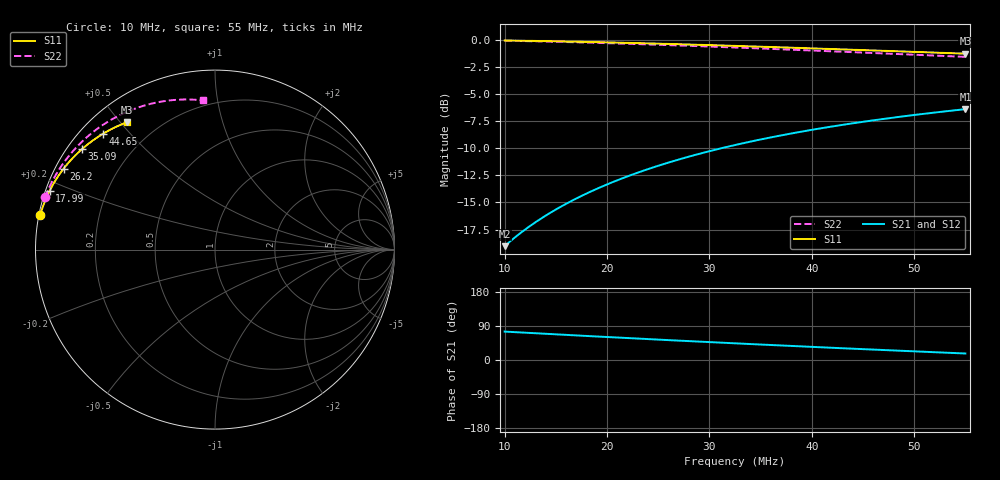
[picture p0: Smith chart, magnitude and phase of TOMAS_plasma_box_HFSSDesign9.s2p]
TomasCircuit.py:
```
from pyRFtk import rfCircuit, rfTRL, rfRLC, rfObject, rfCoupler

def ArthurMod(CaVal=150*1e-12,CpVal=47.94*1e-12,CsVal=133*1e-12):
    Zbase = 50
    ct = rfCircuit(Zbase = Zbase)

    # antenna strap

    A2Ca1_L = 0.95 #Antenna to pre-matching capacitor length
    A2Ca1_Z = 50
    T2Cs1_L = 0.087
    T2Cs1_Z = 50

    tsStrap = 'Ansys/TOMAS_plasma_box_HFSSDesign9.s2p'

    strap = rfObject(touchstone=tsStrap, ports=['cap','t'])

    if strap.fs[0] == 0.:
        strap.fs[0] = 1e-3 # avoid divisions by 0 at 0 Hz in deembed

    strap.deembed({'cap':(A2Ca1_L, A2Ca1_Z), 
                        't'  :(T2Cs1_L, T2Cs1_Z)})
            
    # circuit
    T2Cs_L = 0.16
    T2Cs_Z = 50
    Cs2Cp_L = 0.2
    Cs2Cp_Z = 50
    A2Ca_L = 0.29
    A2Ca_Z = 50.
    CptoV0_Z = 50
    V0toV1_Z = 50
    V1toV2_Z = 50
    V2toV3_Z = 50
    V3toIn_Z = 50

    CptoV0_L = 0.235
    V0toV1_L = 0.66
    V1toV2_L = 0.795
    V2toV3_L = 0.66
    V3toIn_L = 0.235

    LsCaps_H = 30e-9

    # build the circuit
    ct.addblock('strap', strap, 
                     # ports=['t','cap']
                     )
    ct.addblock('A2Ca1',
        rfTRL(L=A2Ca1_L, Z0TL=A2Ca1_Z,
        ports= ['ant','vcw'])
    )

    ct.connect('A2Ca1.ant','strap.cap')

    ct.addblock('A2Ca', 
        rfTRL(L=A2Ca_L, Z0TL=A2Ca_Z,
        ports= ['vcw','cap'])
    )
    ct.connect('A2Ca1.vcw', 'A2Ca.vcw')
    ct.addblock('Ca', rfRLC(Cs=CaVal, Ls=LsCaps_H, ports= ['cap','sc']))
    ct.connect('Ca.cap', 'A2Ca.cap')
    ct.terminate('Ca.sc',Z=0.)
    ct.addblock('T2Cs1',
        rfTRL(L=T2Cs1_L, Z0TL=T2Cs1_Z,
        ports= ['t','vcw'])
    )
    ct.connect('strap.t', 'T2Cs1.t')
    ct.addblock('T2Cs',
        rfTRL(L=T2Cs_L, Z0TL=T2Cs_Z,
        ports= ['vcw','cap'])
    )
    ct.connect('T2Cs1.vcw', 'T2Cs.vcw')
    ct.addblock('Cs', rfRLC(Cs=CsVal, Ls=LsCaps_H, ports= ['cap','toCp']))
    ct.connect('T2Cs.cap','Cs.cap')
    ct.addblock('Cs2Cp',
        rfTRL(L=Cs2Cp_L, Z0TL=Cs2Cp_Z,
        ports= ['Cs','Cp'])
    )
    ct.connect('Cs.toCp', 'Cs2Cp.Cs')
    ct.addblock('Cp', rfRLC(Cs=CpVal, Ls=LsCaps_H, ports= ['Cp','sc']))
    ct.terminate('Cp.sc', Z=0)


    # Coaxial cable

    ct.addblock('IntoV3', 
        rfTRL(L=V3toIn_L, Z0TL=V3toIn_Z,
        ports= ['In','V3']),
        relpos=0
    )
    ct.addblock('V3toV2', 
        rfTRL(L=V2toV3_L, Z0TL=V2toV3_Z,
        ports= ['V3','V2']),
        relpos=V3toIn_L
    )
    ct.addblock('V2toV1', 
        rfTRL(L=V1toV2_L, Z0TL=V0toV1_Z,
        ports= ['V2','V1']),
        relpos=V3toIn_L + V2toV3_L
    )
    ct.addblock('V1toV0', 
        rfTRL(L=V0toV1_L, Z0TL=V1toV2_Z,
        ports= ['V1','V0']),
        relpos=V3toIn_L + V2toV3_L + V0toV1_L
    )
    ct.addblock('V0toCp', 
        rfTRL(L=CptoV0_L, Z0TL=CptoV0_Z,
        ports= ['V0','Cp']),
        relpos=V3toIn_L + V2toV3_L + V0toV1_L + V1toV2_L
    )

    ct.connect('Cs2Cp.Cp', 'Cp.Cp', 'V0toCp.Cp')

    
    ct.connect('V0toCp.V0','V1toV0.V0')
    ct.connect('V1toV0.V1','V2toV1.V1')
    ct.connect('V2toV1.V2','V3toV2.V2')
    ct.connect('V3toV2.V3','IntoV3.V3')
    ct.connect('IntoV3.In','Source')

    return ct


def AntennaAndCaps(CaVal=150*1e-12,CpVal=47.94*1e-12,CsVal=133*1e-12):
    Zbase = 50
    ct = rfCircuit(Zbase = Zbase)

    # antenna strap

    A2Ca1_L = 0.95 #Antenna to pre-matching capacitor length
    A2Ca1_Z = 50
    T2Cs1_L = 0.087
    T2Cs1_Z = 50

    tsStrap = 'Ansys/TOMAS_plasma_box_HFSSDesign9.s2p'

    strap = rfObject(touchstone=tsStrap, ports=['cap','t'])

    if strap.fs[0] == 0.:
        strap.fs[0] = 1e-3 # avoid divisions by 0 at 0 Hz in deembed

    strap.deembed({'cap':(A2Ca1_L, A2Ca1_Z), 
                        't'  :(T2Cs1_L, T2Cs1_Z)})
            
    # circuit
    T2Cs_L = 0.16
    T2Cs_Z = 50
    Cs2Cp_L = 0.2
    Cs2Cp_Z = 50
    A2Ca_L = 0.29
    A2Ca_Z = 50.
    CptoV0_Z = 50
    V0toV1_Z = 50
    V1toV2_Z = 50
    V2toV3_Z = 50
    V3toIn_Z = 50

    CptoV0_L = 0.235
    V0toV1_L = 0.66
    V1toV2_L = 0.795
    V2toV3_L = 0.66
    V3toIn_L = 0.235

    LsCaps_H = 30e-9

    # build the circuit
    ct.addblock('strap', strap, 
                     # ports=['t','cap']
                     )
    ct.addblock('A2Ca1',
        rfTRL(L=A2Ca1_L, Z0TL=A2Ca1_Z,
        ports= ['ant','vcw'])
    )

    ct.connect('A2Ca1.ant','strap.cap')

    ct.addblock('A2Ca', 
        rfTRL(L=A2Ca_L, Z0TL=A2Ca_Z,
        ports= ['vcw','cap'])
    )
    ct.connect('A2Ca1.vcw', 'A2Ca.vcw')
    ct.addblock('Ca', rfRLC(Cs=CaVal, Ls=LsCaps_H, ports= ['cap','sc']))
    ct.connect('Ca.cap', 'A2Ca.cap')
    ct.terminate('Ca.sc',Z=0.)
    ct.addblock('T2Cs1',
        rfTRL(L=T2Cs1_L, Z0TL=T2Cs1_Z,
        ports= ['t','vcw'])
    )
    ct.connect('strap.t', 'T2Cs1.t')
    ct.addblock('T2Cs',
        rfTRL(L=T2Cs_L, Z0TL=T2Cs_Z,
        ports= ['vcw','cap'])
    )
    ct.connect('T2Cs1.vcw', 'T2Cs.vcw')
    ct.addblock('Cs', rfRLC(Cs=CsVal, Ls=LsCaps_H, ports= ['cap','toCp']))
    ct.connect('T2Cs.cap','Cs.cap')
    ct.addblock('Cs2Cp',
        rfTRL(L=Cs2Cp_L, Z0TL=Cs2Cp_Z,
        ports= ['Cs','Cp'])
    )
    ct.connect('Cs.toCp', 'Cs2Cp.Cs')
    ct.addblock('Cp', rfRLC(Cs=CpVal, Ls=LsCaps_H, ports= ['Cp','sc']))
    ct.terminate('Cp.sc', Z=0)


    ct.connect('Cs2Cp.Cp', 'Cp.Cp')

    return ct

def FredericCircuit(CaVal=150*1e-12,CpVal=47.94*1e-12,CsVal=133*1e-12,WhichStrap=0):
    Zbase = 50
    ct = rfCircuit(Zbase = Zbase)

    # antenna strap

    A2Ca1_L = 0.1715
    A2Ca1_Z = 50
    T2Cs1_L = 0.121
    T2Cs1_Z = 50

    Straps = ['Antenna/Tomas-Ref_geo-R=200-Diel_eps=0100.s2p','Antenna/Tomas-Ref_geo-R=200-Diel_eps=0200.s2p','Antenna/Tomas-Ref_geo-R=200-Diel_eps=0500.s2p','Antenna/Tomas-Ref_geo-R=200-Diel_eps=0842.s2p','Antenna/Tomas-Ref_geo-R=200-Diel_eps=1000.s2p','Antenna/Tomas-Ref_geo-R=200-Diel_eps=1500.s2p','Antenna/Tomas-Ref_geo-R=200-Diel_eps=2000.s2p','Antenna/Tomas-Ref_geo-R=200-Diel_eps=2500.s2p','Antenna/Tomas-Ref_geo-R=200-Diel_eps=3000.s2p']
    tsStrap = Straps[WhichStrap]


    strap = rfObject(touchstone=tsStrap, ports=['cap','t'])

    if strap.fs[0] == 0.:
        strap.fs[0] = 1e-3 # avoid divisions by 0 at 0 Hz in deembed

    strap.deembed({'cap':(A2Ca1_L, A2Ca1_Z), 
                        't'  :(T2Cs1_L, T2Cs1_Z)})
            
    # circuit
    T2Cs_L = 0.16
    T2Cs_Z = 50
    Cs2Cp_L = 0.2
    Cs2Cp_Z = 50
    A2Ca_L = 0.29
    A2Ca_Z = 50.
    CptoV0_Z = 50
    V0toV1_Z = 50
    V1toV2_Z = 50
    V2toV3_Z = 50
    V3toIn_Z = 50

    CptoV0_L = 0.235
    V0toV1_L = 0.66
    V1toV2_L = 0.795
    V2toV3_L = 0.66
    V3toIn_L = 0.235

    LsCaps_H = 30e-9

    # build the circuit
    ct.addblock('strap', strap, 
                     # ports=['t','cap']
                     )
    ct.addblock('A2Ca1',
        rfTRL(L=A2Ca1_L, Z0TL=A2Ca1_Z,
        ports= ['ant','vcw'])
    )
    ct.addblock('PlasmaLike',
        rfRLC(Rs=0.0,
        ports= ['in','out'])
    )
    ct.connect('PlasmaLike.in','A2Ca1.ant')
    ct.connect('strap.cap','PlasmaLike.out')
    ct.addblock('A2Ca', 
        rfTRL(L=A2Ca_L, Z0TL=A2Ca_Z,
        ports= ['vcw','cap'])
    )
    ct.connect('A2Ca1.vcw', 'A2Ca.vcw')
    ct.addblock('Ca', rfRLC(Cs=CaVal, Ls=LsCaps_H, ports= ['cap','sc']))
    ct.connect('Ca.cap', 'A2Ca.cap')
    ct.terminate('Ca.sc',Z=0.)
    ct.addblock('T2Cs1',
        rfTRL(L=T2Cs1_L, Z0TL=T2Cs1_Z,
        ports= ['t','vcw'])
    )
    ct.connect('strap.t', 'T2Cs1.t')
    ct.addblock('T2Cs',
        rfTRL(L=T2Cs_L, Z0TL=T2Cs_Z,
        ports= ['vcw','cap'])
    )
    ct.connect('T2Cs1.vcw', 'T2Cs.vcw')
    ct.addblock('Cs', rfRLC(Cs=CsVal, Ls=LsCaps_H, ports= ['cap','toCp']))
    ct.connect('T2Cs.cap','Cs.cap')
    ct.addblock('Cs2Cp',
        rfTRL(L=Cs2Cp_L, Z0TL=Cs2Cp_Z,
        ports= ['Cs','Cp'])
    )
    ct.connect('Cs.toCp', 'Cs2Cp.Cs')
    ct.addblock('Cp', rfRLC(Cs=CpVal, Ls=LsCaps_H, ports= ['Cp','sc']))
    ct.terminate('Cp.sc', Z=0)


    # Coaxial cable
    ct.addblock('CptoV0', 
        rfTRL(L=CptoV0_L, Z0TL=CptoV0_Z,
        ports= ['Cp','V0'])
    )

    ct.connect('Cs2Cp.Cp', 'Cp.Cp', 'CptoV0.Cp')

    ct.addblock('V0toV1', 
        rfTRL(L=V0toV1_L, Z0TL=V0toV1_Z,
        ports= ['V0','V1'])
    )
    ct.addblock('V1toV2', 
        rfTRL(L=V1toV2_L, Z0TL=V1toV2_Z,
        ports= ['V1','V2'])
    )
    ct.connect('CptoV0.V0','V0toV1.V0')
    ct.connect('V0toV1.V1','V1toV2.V1')

    ct.addblock('V2toV3', 
        rfTRL(L=V2toV3_L, Z0TL=V2toV3_Z,
        ports= ['V2','V3'])
    )
    ct.addblock('V3toIn', 
        rfTRL(L=V3toIn_L, Z0TL=V3toIn_Z,
        ports= ['V3','In'])
    )
    ct.connect('V1toV2.V2','V2toV3.V2')
    ct.connect('V2toV3.V3','V3toIn.V3')
    ct.connect('V3toIn.In','Source')

    return ct


def StrapCircuit2(CaVal=150*1e-12,CpVal=47.94*1e-12,CsVal=133*1e-12,WhichStrap=3):

    Zbase = 50.
    ct = rfCircuit(Zbase = Zbase)
    
    # antenna strap
    
    A2Ca1_L = 0.1715
    A2Ca1_Z = 50.
    T2Cs1_L = 0.121
    T2Cs1_Z = 50.

    Straps = ['Antenna/Tomas-Ref_geo-R=200-Diel_eps=0100.s2p','Antenna/Tomas-Ref_geo-R=200-Diel_eps=0200.s2p','Antenna/Tomas-Ref_geo-R=200-Diel_eps=0500.s2p','Antenna/Tomas-Ref_geo-R=200-Diel_eps=0842.s2p','Antenna/Tomas-Ref_geo-R=200-Diel_eps=1000.s2p','Antenna/Tomas-Ref_geo-R=200-Diel_eps=1500.s2p','Antenna/Tomas-Ref_geo-R=200-Diel_eps=2000.s2p','Antenna/Tomas-Ref_geo-R=200-Diel_eps=2500.s2p','Antenna/Tomas-Ref_geo-R=200-Diel_eps=3000.s2p']
    tsStrap = Straps[WhichStrap]

    strap = rfObject(touchstone=tsStrap, ports=['cap','t'])
    if strap.fs[0] == 0.:
        strap.fs[0] = 1e-3 # avoid divisions by 0 at 0 Hz in deembed

    strap.deembed({'cap':(A2Ca1_L, A2Ca1_Z), 
                                't'  :(T2Cs1_L, T2Cs1_Z)})
    T2Cs_L = 0.16
    T2Cs_Z = 50.

    Cs2Cp_L = 0.2
    Cs2Cp_Z = 50.

    A2Ca_L = 0.29
    A2Ca_Z = 50.

    CptoV0_L = 0.235
    CptoV0_Z = 50.
    V0toV1_L = 0.66
    V0toV1_Z = 50.
    V1toV2_L = 0.795
    V1toV2_Z = 50.
    V2toV3_L = 0.66
    V2toV3_Z = 50.
    V3toin_L = 0.235
    V3toin_Z = 50.
   
    LsCaps_H = 30e-9 #maybe 30?

    # build the circuit
        
    ct.addblock('strap', strap, 
                         # ports=['t','cap']
                         )
        # print(self.ct.__str__(full=1))
        
    ct.addblock('A2Ca1',
            rfTRL(L=A2Ca1_L, Z0TL=A2Ca1_Z,
            ports= ['ant','vcw'])
        )
        
    ct.connect('strap.cap','A2Ca1.ant')
        
    ct.addblock('A2Ca', 
            rfTRL(L=A2Ca_L, Z0TL=A2Ca_Z,
            ports= ['vcw','cap'])
        )
    ct.connect('A2Ca1.vcw', 'A2Ca.vcw')
        
    ct.addblock('Ca', rfRLC(Cs=CaVal, Ls=LsCaps_H, ports= ['cap','sc']))
        
    ct.connect('Ca.cap', 'A2Ca.cap')
    ct.terminate('Ca.sc',Z=0.)
        
    ct.addblock('T2Cs1',
            rfTRL(L=T2Cs1_L, Z0TL=T2Cs1_Z,
            ports= ['t','vcw'])
        )
        
    ct.connect('strap.t', 'T2Cs1.t')
        
    ct.addblock('T2Cs',
            rfTRL(L=T2Cs_L, Z0TL=T2Cs_Z,
            ports= ['vcw','cap'])
        )
        
    ct.connect('T2Cs1.vcw', 'T2Cs.vcw')
        
    ct.addblock('Cs', rfRLC(Cs=CsVal, Ls=LsCaps_H, ports= ['cap','toCp']))
    ct.connect('T2Cs.cap','Cs.cap')
        
    ct.addblock('Cs2Cp',
            rfTRL(L=Cs2Cp_L, Z0TL=Cs2Cp_Z,
            ports= ['Cs','Cp'])
        )

    ct.connect('Cs.toCp', 'Cs2Cp.Cs')
        
    ct.addblock('Cp', rfRLC(Cs=CpVal, Ls=LsCaps_H, ports= ['Cp','sc']))
    ct.terminate('Cp.sc', Z=0)
        
    ct.addblock('CptoV0',rfTRL(L=CptoV0_L, Z0TL=CptoV0_Z,ports= ['Cp','V0']))

    ct.addblock('V0toV1', 
            rfTRL(L=V0toV1_L, Z0TL=V0toV1_Z,
            ports= ['V0','V1'])
        )

    ct.addblock('V1toV2', 
            rfTRL(L=V1toV2_L, Z0TL=V1toV2_Z,
            ports= ['V1','V2'])
        )

    ct.addblock('V2toV3', 
            rfTRL(L=V2toV3_L, Z0TL=V2toV3_Z,
            ports= ['V2','V3'])
        )
    ct.addblock('V3toin', 
            rfTRL(L=V3toin_L, Z0TL=V3toin_Z,
            ports= ['V3','in'])
        )

    ct.connect('Cs2Cp.Cp', 'Cp.Cp', 'CptoV0.Cp')
    ct.connect('CptoV0.V0','V0toV1.V0')

    ct.connect('V0toV1.V1','V1toV2.V1')

    
    ct.connect('V1toV2.V2','V2toV3.V2')
    ct.connect('V2toV3.V3','V3toin.V3')
    ct.connect('Source','V3toin.in')

    return ct

def ArthurCircuit(CaVal=150*1e-12,CpVal=47.94*1e-12,CsVal=133*1e-12):

    # A simplified circuit

    TRLStoV3 = rfTRL(L=0.235, OD=0.041, ID=0.017, dx=500)
    TRLV3toV2 = rfTRL(L=0.66, OD=0.041, ID=0.017, dx=500)
    TRLV2toV1 = rfTRL(L=0.795, OD=0.041, ID=0.017, dx=500)
    TRLV1toV0 = rfTRL(L=0.66, OD=0.041, ID=0.017, dx=500)
    TRLV0toM = rfTRL(L=0.235, OD=0.041, ID=0.017, dx=500)
    """
    #load S matrix of antenna
    Antenna = rfObject(touchstone='Ansys/TOMAS_plasma_box_HFSSDesign9_test.s2p')
    RLCMatchBox = rfRLC(Cs=CsVal,Cp=CpVal)
    RLCPreMatchBox = rfRLC(Cs=CaVal)
    ct.addblock('Antenna',Antenna,ports=['G','H'])
    """
    #load S matrix of antenna and deembed:
    A2Ca1_L = 0.95 #Antenna to pre-matching capacitor length
    A2Ca1_Z = 50
    T2Cs1_L = 0.087
    T2Cs1_Z = 50
    tsStrap = 'Ansys/TOMAS_plasma_box_HFSSDesign9_test.s2p'
    Antenna = rfObject(touchstone=tsStrap, ports=['cap','t'])
    if strap.fs[0] == 0.:
        strap.fs[0] = 1e-3 # avoid divisions by 0 at 0 Hz in deembed
    Antenna.deembed({'cap':(A2Ca1_L, A2Ca1_Z), 't'  :(T2Cs1_L, T2Cs1_Z)})
    ct.addblock('Antenna', Antenna)
    ct.addblock('A2Ca1',
        rfTRL(L=A2Ca1_L, Z0TL=A2Ca1_Z,
        ports= ['ant','vcw'])
    )

    ct = rfCircuit(Id="TOMAS_ICRH")

    ct.addblock('StoV3',TRLStoV3,ports=['S','V3'],relpos=0)
    ct.addblock('V3toV2',TRLV3toV2,ports=['V3','V2'],relpos=TRLStoV3.L)
    ct.addblock('V2toV1',TRLV2toV1,ports=['V2','V1'],relpos=TRLStoV3.L + TRLV3toV2.L)
    ct.addblock('V1toV0',TRLV1toV0,ports=['V1','V0'],relpos=TRLStoV3.L + TRLV3toV2.L + TRLV2toV1.L)
    ct.addblock('V0toM',TRLV0toM,ports=['V0','M'],relpos=TRLStoV3.L + TRLV3toV2.L + TRLV2toV1.L + TRLV1toV0.L)

    EndOfLine =TRLStoV3.L + TRLV3toV2.L + TRLV2toV1.L + TRLV1toV0.L + TRLV0toM.L

    ct.addblock('Matching',RLCMatchBox,ports=['F','G'])
    ct.addblock('PreMatch',RLCPreMatchBox,ports=['H','I'])

    ct.connect('StoV3.S','Source')
    ct.connect('V3toV2.V3','StoV3.V3')
    ct.connect('V3toV2.V2','V2toV1.V2')
    ct.connect('V2toV1.V1','V1toV0.V1')
    ct.connect('V1toV0.V0','V0toM.V0')
    ct.connect('V0toM.M','Matching.F')
    ct.connect('Matching.G','Antenna.G')
    ct.connect('Antenna.H','PreMatch.H')
    ct.terminate('PreMatch.I',Z=0) #Grounding

    return ct
```
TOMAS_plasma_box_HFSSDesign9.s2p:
! Touchstone file exported from HFSS 2022.2.0
!  File:  /home/arthur/Ansoft/PersonalLib/TOMAS_plasma_box.aedt
!  Generated:  1:41:48 PM  Jan 16, 2024
!  Design:  HFSSDesign9
!  Project:  TOMAS_plasma_box
!  Setup:  Setup1
!  Solution:  Sweep
! Variables:
!  offset = 1.25cm
!  r_diel = 210mm
# GHz S MA R 50.000000
! Terminal data exported
! Port[1] = 1
! Port[2] = 2
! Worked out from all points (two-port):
!   401 points, 10 MHz to 55 MHz, reference 50 ohm
!   highest |S21| = -6.40 dB at 55 MHz (marker M1); lowest = -19.0 dB at 10 MHz (marker M2)
!   |S21| within 3 dB of the highest: 33.96 MHz to end of sweep
!   lowest |S11| = -1.3 dB at 55 MHz (marker M3), VSWR 13.57, Z = 4.69 + j26 ohm
!   |S11| at or under -10 dB: nowhere
!   |S22| runs from -1.6 to -0.1 dB; largest |S21 - S12| = 2e-06
!   S11 on the Smith chart (normalised r, x): 10 MHz: 0.00, +0.10; 17.99 MHz: 0.01, +0.17; 26.2 MHz: 0.02, +0.25; 35.09 MHz: 0.04, +0.33; 44.65 MHz: 0.06, +0.42; 55 MHz: 0.09, +0.52
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0.01  0.9926 169.0  0.1119 75.0  0.1119 75.0  0.9902 162.8
! Gamma 0 0.209584502215337 0 0.209584502201685
! Port Impedance 50 0 50 0
0.0137125  0.9865 164.9  0.1516 69.5  0.1516 69.5  0.9823 156.6
0.0179875  0.9776 160.4  0.1955 63.5  0.1955 63.5  0.9709 149.5
0.0218125  0.9683 156.3  0.2329 58.1  0.2329 58.1  0.9592 143.3
0.0262  0.9563 151.8  0.2734 52.2  0.2734 52.2  0.9443 136.3
0.0325  0.9373 145.5  0.3272 44.0  0.3272 44.0  0.9213 126.6
0.0350875  0.929 143.0  0.3478 40.7  0.3478 40.7  0.9114 122.7
0.0398125  0.9136 138.5  0.3831 34.8  0.3831 34.8  0.8931 115.8
0.04465  0.8974 134.0  0.4164 29.0  0.4164 29.0  0.8742 108.8
0.0497125  0.8804 129.4  0.4484 23.1  0.4484 23.1  0.8544 101.8
0.055  0.8627 124.7  0.4788 17.2  0.4788 17.2  0.8341 94.7
